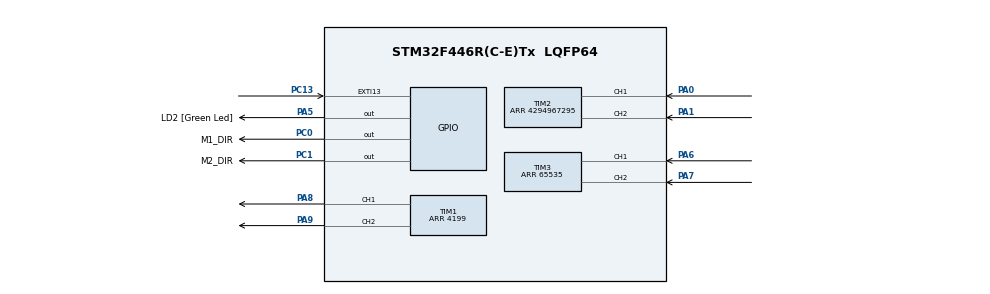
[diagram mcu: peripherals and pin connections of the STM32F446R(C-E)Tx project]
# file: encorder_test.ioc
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Mcu.Family=STM32F4
Mcu.Name=STM32F446R(C-E)Tx
Mcu.Package=LQFP64
NUCLEO-F446RE.BUTTON=1
NVIC.EXTI15_10_IRQn=true\:0\:0\:false\:false\:true\:false\:true\:true
NVIC.PriorityGroup=NVIC_PRIORITYGROUP_0
PA0-WKUP.Signal=S_TIM2_CH1_ETR
PA1.Signal=S_TIM2_CH2
PA13.GPIO_Label=TMS
PA13.Signal=SYS_JTMS-SWDIO
PA14.GPIO_Label=TCK
PA14.Signal=SYS_JTCK-SWCLK
PA5.GPIO_Label=LD2 [Green Led]
PA5.Signal=GPIO_Output
PA6.Signal=S_TIM3_CH1
PA7.Signal=S_TIM3_CH2
PA8.Signal=S_TIM1_CH1
PA9.Signal=S_TIM1_CH2
PB3.GPIO_Label=SWO
PB3.Signal=SYS_JTDO-SWO
PC0.GPIO_Label=M1_DIR
PC0.Signal=GPIO_Output
PC1.GPIO_Label=M2_DIR
PC1.Signal=GPIO_Output
PC13.Signal=GPXTI13
PC14-OSC32_IN.Signal=RCC_OSC32_IN
PC15-OSC32_OUT.Signal=RCC_OSC32_OUT
PH0-OSC_IN.Signal=RCC_OSC_IN
PH1-OSC_OUT.Signal=RCC_OSC_OUT
ProjectManager.HeapSize=0x200
ProjectManager.StackSize=0x400
ProjectManager.TargetToolchain=STM32CubeIDE
RCC.AHBFreq_Value=84000000
RCC.APB1CLKDivider=RCC_HCLK_DIV2
RCC.APB1Freq_Value=42000000
RCC.APB1TimFreq_Value=84000000
RCC.APB2Freq_Value=84000000
RCC.APB2TimFreq_Value=84000000
RCC.CortexFreq_Value=84000000
RCC.FLatency-AdvancedSettings=FLASH_LATENCY_2
RCC.HCLKFreq_Value=84000000
RCC.HSE_VALUE=8000000
RCC.HSI_VALUE=16000000
RCC.LSE_VALUE=32768
RCC.PLLN=336
RCC.PLLP=RCC_PLLP_DIV4
RCC.SYSCLKFreq_VALUE=84000000
RCC.SYSCLKSource=RCC_SYSCLKSOURCE_PLLCLK
RCC.USBFreq_Value=168000000
RCC.VCOOutputFreq_Value=336000000
SH.S_TIM1_CH1.0=TIM1_CH1,PWM Generation1 CH1
SH.S_TIM1_CH2.0=TIM1_CH2,PWM Generation2 CH2
SH.S_TIM2_CH1_ETR.0=TIM2_CH1,Encoder_Interface
SH.S_TIM2_CH2.0=TIM2_CH2,Encoder_Interface
SH.S_TIM3_CH1.0=TIM3_CH1,Encoder_Interface
SH.S_TIM3_CH2.0=TIM3_CH2,Encoder_Interface
TIM1.AutoReloadPreload=TIM_AUTORELOAD_PRELOAD_ENABLE
TIM1.Channel-PWM\ Generation1\ CH1=TIM_CHANNEL_1
TIM1.Channel-PWM\ Generation2\ CH2=TIM_CHANNEL_2
TIM1.Period=4199
TIM2.EncoderMode=TIM_ENCODERMODE_TI12
TIM2.IC1Filter=4
TIM2.IC2Filter=4
TIM2.Period=4294967295
TIM3.EncoderMode=TIM_ENCODERMODE_TI12
TIM3.IC1Filter=4
TIM3.IC2Filter=4
TIM3.Period=65535
VP_NUCLEO-F446RE_VS_BSP_COMMON.Mode=COMMON
VP_TIM1_VS_ClockSourceINT.Mode=Internal
board=NUCLEO-F446RE

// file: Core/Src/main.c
/* USER CODE BEGIN Header */
/**
  ******************************************************************************
  * @file           : main.c
  * @brief          : Main program body
  ******************************************************************************
  * @attention
  *
  * Copyright (c) 2026 STMicroelectronics.
  * All rights reserved.
  *
  * This software is licensed under terms that can be found in the LICENSE file
  * in the root directory of this software component.
  * If no LICENSE file comes with this software, it is provided AS-IS.
  *
  ******************************************************************************
  */
/* USER CODE END Header */
#include "main.h"

/* USER CODE BEGIN Includes */
#include <math.h>
/* USER CODE END Includes */

/* USER CODE BEGIN PTD */
typedef struct{
	float target_speed_mm_s;
	float control_target_speed_mm_s;
	float speed_mm_s;
	float delta_distance_mm;
	float rpm;

	float duty_percent;
	float speed_error;
	float i_output;

	float kp;
	float ki;

	uint32_t previous_count;
	int32_t delta_count;

	int8_t direction;
	uint8_t stop_samples;
} MotorState;

typedef struct{
	TIM_HandleTypeDef *encoder_timer;
	TIM_HandleTypeDef *pwm_timer;
	uint32_t pwm_channel;

	GPIO_TypeDef *dir_port;
	uint16_t dir_pin;

	uint32_t encoder_bits;
	int8_t encoder_sign;

	float counts_per_turn;
	float wheel_circumference_mm;
} MotorConfig;

typedef struct{
	MotorConfig config;
	MotorState state;
} Motor;

typedef struct {
	float delta_s_mm;
	float delta_yaw_rad;

	float x_mm;
	float y_mm;
	float yaw_rad;
} RobotState;

typedef struct {
	Motor *left_motor;
	Motor *right_motor;

	float wheel_track_mm;

	RobotState state;
} Robot;
/* USER CODE END PTD */

/* USER CODE BEGIN PD */
#define MOTOR_DUTY_LIMIT_PERCENT 50.0f
#define MOTOR_SPEED_LIMIT_MM_S 200.0f
#define MOTOR_ACCELERATION_LIMIT_MM_S2 100.0f
#define WHEEL_TRACK_MM 234.0f
/* NUCLEO ST-LINK MCO 8MHz 입력 사용. 0이면 기존 HSI 비교 시험. */
#define CLOCK_USE_HSE 1U
/* 전진 50mm/s 비교 시험 전용. 보상은 최대 6%p/s로 상승합니다. */
#define FEEDFORWARD_TEST_ENABLE 1U
#define FEEDFORWARD_DUTY_50_PERCENT 12.0f
#define FEEDFORWARD_RAMP_PERCENT_S 6.0f
/* USER CODE END PD */

TIM_HandleTypeDef htim1;
TIM_HandleTypeDef htim2;
TIM_HandleTypeDef htim3;

/* USER CODE BEGIN PV */
Motor motor1 = {
	.config = {
		.encoder_timer = &htim2,
		.pwm_timer = &htim1,
		.pwm_channel = TIM_CHANNEL_1,

		.dir_port = M1_DIR_GPIO_Port,
		.dir_pin = M1_DIR_Pin,

		.encoder_bits = 32U,
		.encoder_sign = 1,

		.counts_per_turn = 2473.6f,
		.wheel_circumference_mm = 345.6f
	}
};

Motor motor2 = {
	.config = {
		.encoder_timer = &htim3,
		.pwm_timer = &htim1,
		.pwm_channel = TIM_CHANNEL_2,

		.dir_port = M2_DIR_GPIO_Port,
		.dir_pin = M2_DIR_Pin,

		.encoder_bits = 16U,
		.encoder_sign = 1,

		.counts_per_turn = 2464.5f,
		.wheel_circumference_mm = 345.6f
	}
};

Robot robot = {
	.left_motor = &motor1,
	.right_motor = &motor2,
	.wheel_track_mm = WHEEL_TRACK_MM
};
/* 디버거가 외부에서 변경하는 명령값이므로 volatile을 사용합니다. */
volatile float linear_speed_mm_s = 0.0f;
volatile float angular_speed_rad_s = 0.0f;
uint8_t clock_hse_active = 0U;
uint8_t clock_hse_failed = 0U;
/* USER CODE END PV */

void SystemClock_Config(void);
static void MX_GPIO_Init(void);
static void MX_TIM2_Init(void);
static void MX_TIM1_Init(void);
static void MX_TIM3_Init(void);
/* USER CODE BEGIN PFP */
HAL_StatusTypeDef Motor_Init(Motor *motor);

void Motor_SetTargetSpeed(Motor *motor, float target_speed_mm_s);

void Motor_Update(Motor *motor, uint32_t sample_dt_ms);

void Motor_Stop(Motor *motor);

void Robot_SetVelocity(
	Robot *robot,
	float linear_speed_mm_s,
	float angular_speed_rad_s
);

void Robot_Update(
	Robot *robot,
	uint32_t sample_dt_ms
);
/* USER CODE END PFP */

/* USER CODE BEGIN 0 */
static float feedforward_left = 0.0f;
static float feedforward_right = 0.0f;

static float *Motor_FeedforwardState(Motor *motor){
	return motor == &motor1 ? &feedforward_left : &feedforward_right;
}

static void Motor_ApplyDuty(Motor *motor, float duty_percent)
{
    if (duty_percent < 0.0f){
        duty_percent = 0.0f;
    }
    else if (duty_percent > MOTOR_DUTY_LIMIT_PERCENT){
        duty_percent = MOTOR_DUTY_LIMIT_PERCENT;
    }

    motor->state.duty_percent = duty_percent;

    const uint32_t period_counts =
    		__HAL_TIM_GET_AUTORELOAD(motor->config.pwm_timer) + 1U;
    const uint32_t compare =
    		(uint32_t)((float)period_counts * duty_percent / 100.0f);
    __HAL_TIM_SET_COMPARE(
    		motor->config.pwm_timer,
			motor->config.pwm_channel,
			compare
	);
}

void Motor_Stop(Motor *motor){
	*Motor_FeedforwardState(motor) = 0.0f;
	motor->state.target_speed_mm_s = 0.0f;
	motor->state.control_target_speed_mm_s = 0.0f;
	motor->state.speed_error = -motor->state.speed_mm_s;
	motor->state.i_output = 0.0f;
	motor->state.stop_samples = 0;

	Motor_ApplyDuty(motor, 0.0f);
}

HAL_StatusTypeDef Motor_Init(Motor *motor){
	motor->state = (MotorState){
		/* 반복한 바닥 시험에서 목표 부근의 속도 변동이 작았던 값입니다.
		 * Kp가 크면 속도 변화에 따른 듀티 변화도 커집니다. */
		.kp = 0.1f,
		.ki = 0.1f,
		.direction = 1
	};

	Motor_ApplyDuty(motor, 0.0f);

	HAL_GPIO_WritePin(
			motor->config.dir_port,
			motor->config.dir_pin,
			GPIO_PIN_SET
		);

	__HAL_TIM_SET_COUNTER(motor->config.encoder_timer, 0);

	if (HAL_TIM_Encoder_Start(
			motor->config.encoder_timer,
			TIM_CHANNEL_ALL) != HAL_OK)
	{
		return HAL_ERROR;
	}

	motor->state.previous_count =
			__HAL_TIM_GET_COUNTER(motor->config.encoder_timer);

	if (HAL_TIM_PWM_Start(
			motor->config.pwm_timer,
			motor->config.pwm_channel) != HAL_OK)
	{
		Motor_Stop(motor);
		return HAL_ERROR;
	}

	return HAL_OK;
}

void Motor_Update(Motor *motor, uint32_t sample_dt_ms){
	if (sample_dt_ms == 0U){
		return;
	}
	const uint32_t current_count =
			__HAL_TIM_GET_COUNTER(motor->config.encoder_timer);

	int32_t delta_count;

	if (motor->config.encoder_bits == 16U){
		delta_count =
				(int32_t)current_count - (int32_t)motor->state.previous_count;

		if (delta_count > 32767){
			delta_count -= 65536;
		}
		else if (delta_count < -32768){
			delta_count += 65536;
		}
	}
	else {
		delta_count =
				(int32_t)(current_count - motor->state.previous_count);
	}
	motor->state.previous_count = current_count;

	delta_count *= motor->config.encoder_sign;
	motor->state.delta_count = delta_count;

	const float turns =
			(float)delta_count / motor->config.counts_per_turn;

	motor->state.delta_distance_mm =
			turns * motor->config.wheel_circumference_mm;

	motor->state.speed_mm_s =
			motor->state.delta_distance_mm
			* 1000.0f / (float)sample_dt_ms;

	motor->state.rpm =
			turns * 60000.0f / (float)sample_dt_ms;

	const int8_t requested_direction =
			(motor->state.target_speed_mm_s > 0.0f) ? 1 :
			(motor->state.target_speed_mm_s < 0.0f) ? -1 : 0;

	if (requested_direction == 0){
		Motor_Stop(motor);
		return;
	}
	if (requested_direction != motor->state.direction){
		*Motor_FeedforwardState(motor) = 0.0f;
		Motor_ApplyDuty(motor, 0.0f);
		motor->state.control_target_speed_mm_s = 0.0f;
		motor->state.i_output = 0.0f;

		if (delta_count == 0){
			motor->state.stop_samples++;
		}
		else{
			motor->state.stop_samples = 0;
		}
		if (motor->state.stop_samples >= 3U){
			HAL_GPIO_WritePin(
				motor->config.dir_port,
				motor->config.dir_pin,
				requested_direction > 0 ? GPIO_PIN_SET : GPIO_PIN_RESET
			);

			motor->state.direction = requested_direction;
			motor->state.stop_samples = 0;
		}

		return;
	}

	motor->state.stop_samples = 0;

	const float dt_s = (float)sample_dt_ms / 1000.0f;

	const float max_change = MOTOR_ACCELERATION_LIMIT_MM_S2 * dt_s;

	float target_change =
			motor->state.target_speed_mm_s - motor->state.control_target_speed_mm_s;

	if (target_change > max_change){
		target_change = max_change;
	}

	else if (target_change < -max_change){
		target_change = -max_change;
	}

	motor->state.control_target_speed_mm_s += target_change;

	motor->state.speed_error =
			motor->state.control_target_speed_mm_s - motor->state.speed_mm_s;

	const float control_error =
			(float)motor->state.direction * motor->state.speed_error;

	/* 다른 속도·후진·회전에는 아직 보상값을 적용하지 않습니다. */
	const float ff_target =
		(FEEDFORWARD_TEST_ENABLE != 0U &&
		 linear_speed_mm_s == 50.0f && angular_speed_rad_s == 0.0f)
		? FEEDFORWARD_DUTY_50_PERCENT *
		  motor->state.control_target_speed_mm_s / 50.0f : 0.0f;

	float *ff_state = Motor_FeedforwardState(motor);
	if (ff_target > *ff_state){
		*ff_state = fminf(ff_target,
			*ff_state + FEEDFORWARD_RAMP_PERCENT_S * dt_s);
	}
	else{
		*ff_state = ff_target;
	}
	const float ff_output = *ff_state;
	const float p_output =
		motor->state.kp * control_error;

	/* 보상 상승 중에는 양의 적분 누적만 억제합니다. 과속 보정은 허용. */
	const float i_step =
		(ff_target > ff_output && control_error > 0.0f)
		? 0.0f : motor->state.ki * control_error * dt_s;
	const float i_candidate = motor->state.i_output + i_step;

	const float output_candidate = ff_output + p_output + i_candidate;

	/* 출력 제한을 더 벗어나게 하는 적분은 저장하지 않습니다. */
	if (!((output_candidate > MOTOR_DUTY_LIMIT_PERCENT &&
		   control_error > 0.0f) ||
		  (output_candidate < 0.0f &&
		   control_error < 0.0f)))
	{
		motor->state.i_output = i_candidate;
	}

	/* 공통 출력 함수에서 듀티 제한과 실제 CCR 갱신을 수행합니다. */
	Motor_ApplyDuty(
		motor,
		ff_output + p_output + motor->state.i_output
	);
}

void Motor_SetTargetSpeed(Motor *motor, float target_speed_mm_s){
	if (!isfinite(target_speed_mm_s)){ // isfinite()는 NaN·무한대 같은 잘못된 계산값을 걸러냄
		Motor_Stop(motor);
		return;
	}

	if (target_speed_mm_s > MOTOR_SPEED_LIMIT_MM_S){
		target_speed_mm_s = MOTOR_SPEED_LIMIT_MM_S;
	}
	else if (target_speed_mm_s < -MOTOR_SPEED_LIMIT_MM_S){
		target_speed_mm_s = -MOTOR_SPEED_LIMIT_MM_S;
	}

	if (target_speed_mm_s == 0){
		Motor_Stop(motor);
		return;
	}
	motor->state.target_speed_mm_s = target_speed_mm_s;
}

void Robot_SetVelocity(
	Robot *robot,
	float linear_speed_mm_s,
	float angular_speed_rad_s)
{
	const float turn_speed =
			angular_speed_rad_s * robot->wheel_track_mm * 0.5f;

	float left_target = linear_speed_mm_s - turn_speed;
	float right_target = linear_speed_mm_s + turn_speed;

	if (!isfinite(left_target) || !isfinite(right_target)) {
		Motor_Stop(robot->left_motor);
		Motor_Stop(robot->right_motor);
		return;
	}

	const float max_target =
		fmaxf(fabsf(left_target), fabsf(right_target));

	if (max_target > MOTOR_SPEED_LIMIT_MM_S) {
		const float scale =
			MOTOR_SPEED_LIMIT_MM_S / max_target;

		left_target *= scale;
		right_target *= scale;
	}

    Motor_SetTargetSpeed(robot->left_motor, left_target);
    Motor_SetTargetSpeed(robot->right_motor, right_target);
}

void Robot_Update(Robot *robot, uint32_t sample_dt_ms){
	if (sample_dt_ms == 0U){
		return;
	}

	Motor_Update(robot->left_motor, sample_dt_ms);
	Motor_Update(robot->right_motor, sample_dt_ms);

	const float left_mm =
		robot->left_motor->state.delta_distance_mm;

	const float right_mm =
		robot->right_motor->state.delta_distance_mm;

	robot->state.delta_s_mm =
		(left_mm + right_mm) * 0.5f;

	robot->state.delta_yaw_rad =
		(right_mm - left_mm) / robot->wheel_track_mm;

	const float mid_yaw_rad =
		robot->state.yaw_rad
		+ robot->state.delta_yaw_rad * 0.5f;

    robot->state.x_mm +=
        robot->state.delta_s_mm * cosf(mid_yaw_rad);

    robot->state.y_mm +=
        robot->state.delta_s_mm * sinf(mid_yaw_rad);

    robot->state.yaw_rad += robot->state.delta_yaw_rad;
}
/* USER CODE END 0 */

int main(void)
{

  /* USER CODE BEGIN 1 */
    uint32_t previous_tick = 0U;
/* USER CODE END 1 */

  /* MCU Configuration--------------------------------------------------------*/

  /* Reset of all peripherals, Initializes the Flash interface and the Systick. */
  HAL_Init();

  /* Configure the system clock */
  SystemClock_Config();

  /* Initialize all configured peripherals */
  MX_GPIO_Init();
  MX_TIM2_Init();
  MX_TIM1_Init();
  MX_TIM3_Init();
  /* USER CODE BEGIN 2 */
  if (Motor_Init(&motor1) != HAL_OK){
	  Error_Handler();
  }
  if (Motor_Init(&motor2) != HAL_OK){
  	  Error_Handler();
  }

  previous_tick = HAL_GetTick();
/* USER CODE END 2 */

  /* Initialize USER push-button, will be used to trigger an interrupt each time it's pressed.*/
  BSP_PB_Init(BUTTON_USER, BUTTON_MODE_EXTI);

  /* Infinite loop */
  while (1)
  {

    /* USER CODE BEGIN 3 */
    const uint32_t now = HAL_GetTick();

	  if ((uint32_t)(now - previous_tick) >= 100U){
		  const uint32_t sample_dt_ms = now - previous_tick;

		  Robot_SetVelocity(
			  &robot,
			  linear_speed_mm_s,
			  angular_speed_rad_s
		  );
		  // 모터 측정과 제어 수행
		  Robot_Update(&robot, sample_dt_ms);

		  previous_tick = now;
	  }

  }
/* USER CODE END 3 */
}

void SystemClock_Config(void)
{
  RCC_OscInitTypeDef RCC_OscInitStruct = {0};
  RCC_ClkInitTypeDef RCC_ClkInitStruct = {0};

  /* HSE/MCO가 없는 보드에서도 정지 초기화까지 진행하도록 HSI로 복귀합니다.
   * 클럭 소스만 비교하며 두 경로 모두 SYSCLK=84MHz를 유지합니다.
   * CubeMX 재생성 시 이 사용자 변경 구간을 보존해야 합니다. */
  clock_hse_active = 0U;
  clock_hse_failed = 0U;
  if (CLOCK_USE_HSE != 0U){
    RCC_OscInitTypeDef hse_probe = {0};
    hse_probe.OscillatorType = RCC_OSCILLATORTYPE_HSE;
    hse_probe.HSEState = RCC_HSE_BYPASS;
    hse_probe.PLL.PLLState = RCC_PLL_NONE;
    if (HAL_RCC_OscConfig(&hse_probe) == HAL_OK){
      clock_hse_active = 1U;
    }
    else{
      clock_hse_failed = 1U;
      hse_probe.HSEState = RCC_HSE_OFF;
      if (HAL_RCC_OscConfig(&hse_probe) != HAL_OK){
        Error_Handler();
      }
    }
  }

  /** Configure the main internal regulator output voltage
  */
  __HAL_RCC_PWR_CLK_ENABLE();
  __HAL_PWR_VOLTAGESCALING_CONFIG(PWR_REGULATOR_VOLTAGE_SCALE3);

  /** Initializes the RCC Oscillators according to the specified parameters
  * in the RCC_OscInitTypeDef structure.
  */
  RCC_OscInitStruct.OscillatorType = RCC_OSCILLATORTYPE_HSI;
  RCC_OscInitStruct.HSIState = RCC_HSI_ON;
  RCC_OscInitStruct.HSICalibrationValue = RCC_HSICALIBRATION_DEFAULT;
  RCC_OscInitStruct.PLL.PLLState = RCC_PLL_ON;
  RCC_OscInitStruct.PLL.PLLSource =
      clock_hse_active != 0U ? RCC_PLLSOURCE_HSE : RCC_PLLSOURCE_HSI;
  RCC_OscInitStruct.PLL.PLLM = clock_hse_active != 0U ? 8U : 16U;
  RCC_OscInitStruct.PLL.PLLN = 336;
  RCC_OscInitStruct.PLL.PLLP = RCC_PLLP_DIV4;
  RCC_OscInitStruct.PLL.PLLQ = 2;
  RCC_OscInitStruct.PLL.PLLR = 2;
  if (HAL_RCC_OscConfig(&RCC_OscInitStruct) != HAL_OK)
  {
    Error_Handler();
  }

  /** Initializes the CPU, AHB and APB buses clocks
  */
  RCC_ClkInitStruct.ClockType = RCC_CLOCKTYPE_HCLK|RCC_CLOCKTYPE_SYSCLK
                              |RCC_CLOCKTYPE_PCLK1|RCC_CLOCKTYPE_PCLK2;
  RCC_ClkInitStruct.SYSCLKSource = RCC_SYSCLKSOURCE_PLLCLK;
  RCC_ClkInitStruct.AHBCLKDivider = RCC_SYSCLK_DIV1;
  RCC_ClkInitStruct.APB1CLKDivider = RCC_HCLK_DIV2;
  RCC_ClkInitStruct.APB2CLKDivider = RCC_HCLK_DIV1;

  if (HAL_RCC_ClockConfig(&RCC_ClkInitStruct, FLASH_LATENCY_2) != HAL_OK)
  {
    Error_Handler();
  }
}

static void MX_TIM1_Init(void)
{

  TIM_ClockConfigTypeDef sClockSourceConfig = {0};
  TIM_MasterConfigTypeDef sMasterConfig = {0};
  TIM_OC_InitTypeDef sConfigOC = {0};
  TIM_BreakDeadTimeConfigTypeDef sBreakDeadTimeConfig = {0};

  htim1.Instance = TIM1;
  htim1.Init.Prescaler = 0;
  htim1.Init.CounterMode = TIM_COUNTERMODE_UP;
  htim1.Init.Period = 4199;
  htim1.Init.ClockDivision = TIM_CLOCKDIVISION_DIV1;
  htim1.Init.RepetitionCounter = 0;
  htim1.Init.AutoReloadPreload = TIM_AUTORELOAD_PRELOAD_ENABLE;
  if (HAL_TIM_Base_Init(&htim1) != HAL_OK)
  {
    Error_Handler();
  }
  sClockSourceConfig.ClockSource = TIM_CLOCKSOURCE_INTERNAL;
  if (HAL_TIM_ConfigClockSource(&htim1, &sClockSourceConfig) != HAL_OK)
  {
    Error_Handler();
  }
  if (HAL_TIM_PWM_Init(&htim1) != HAL_OK)
  {
    Error_Handler();
  }
  sMasterConfig.MasterOutputTrigger = TIM_TRGO_RESET;
  sMasterConfig.MasterSlaveMode = TIM_MASTERSLAVEMODE_DISABLE;
  if (HAL_TIMEx_MasterConfigSynchronization(&htim1, &sMasterConfig) != HAL_OK)
  {
    Error_Handler();
  }
  sConfigOC.OCMode = TIM_OCMODE_PWM1;
  sConfigOC.Pulse = 0;
  sConfigOC.OCPolarity = TIM_OCPOLARITY_HIGH;
  sConfigOC.OCNPolarity = TIM_OCNPOLARITY_HIGH;
  sConfigOC.OCFastMode = TIM_OCFAST_DISABLE;
  sConfigOC.OCIdleState = TIM_OCIDLESTATE_RESET;
  sConfigOC.OCNIdleState = TIM_OCNIDLESTATE_RESET;
  if (HAL_TIM_PWM_ConfigChannel(&htim1, &sConfigOC, TIM_CHANNEL_1) != HAL_OK)
  {
    Error_Handler();
  }
  if (HAL_TIM_PWM_ConfigChannel(&htim1, &sConfigOC, TIM_CHANNEL_2) != HAL_OK)
  {
    Error_Handler();
  }
  sBreakDeadTimeConfig.OffStateRunMode = TIM_OSSR_DISABLE;
  sBreakDeadTimeConfig.OffStateIDLEMode = TIM_OSSI_DISABLE;
  sBreakDeadTimeConfig.LockLevel = TIM_LOCKLEVEL_OFF;
  sBreakDeadTimeConfig.DeadTime = 0;
  sBreakDeadTimeConfig.BreakState = TIM_BREAK_DISABLE;
  sBreakDeadTimeConfig.BreakPolarity = TIM_BREAKPOLARITY_HIGH;
  sBreakDeadTimeConfig.AutomaticOutput = TIM_AUTOMATICOUTPUT_DISABLE;
  if (HAL_TIMEx_ConfigBreakDeadTime(&htim1, &sBreakDeadTimeConfig) != HAL_OK)
  {
    Error_Handler();
  }
  HAL_TIM_MspPostInit(&htim1);

}

static void MX_TIM2_Init(void)
{

  TIM_Encoder_InitTypeDef sConfig = {0};
  TIM_MasterConfigTypeDef sMasterConfig = {0};

  htim2.Instance = TIM2;
  htim2.Init.Prescaler = 0;
  htim2.Init.CounterMode = TIM_COUNTERMODE_UP;
  htim2.Init.Period = 4294967295;
  htim2.Init.ClockDivision = TIM_CLOCKDIVISION_DIV1;
  htim2.Init.AutoReloadPreload = TIM_AUTORELOAD_PRELOAD_DISABLE;
  sConfig.EncoderMode = TIM_ENCODERMODE_TI12;
  sConfig.IC1Polarity = TIM_ICPOLARITY_RISING;
  sConfig.IC1Selection = TIM_ICSELECTION_DIRECTTI;
  sConfig.IC1Prescaler = TIM_ICPSC_DIV1;
  sConfig.IC1Filter = 4;
  sConfig.IC2Polarity = TIM_ICPOLARITY_RISING;
  sConfig.IC2Selection = TIM_ICSELECTION_DIRECTTI;
  sConfig.IC2Prescaler = TIM_ICPSC_DIV1;
  sConfig.IC2Filter = 4;
  if (HAL_TIM_Encoder_Init(&htim2, &sConfig) != HAL_OK)
  {
    Error_Handler();
  }
  sMasterConfig.MasterOutputTrigger = TIM_TRGO_RESET;
  sMasterConfig.MasterSlaveMode = TIM_MASTERSLAVEMODE_DISABLE;
  if (HAL_TIMEx_MasterConfigSynchronization(&htim2, &sMasterConfig) != HAL_OK)
  {
    Error_Handler();
  }

}

static void MX_TIM3_Init(void)
{

  TIM_Encoder_InitTypeDef sConfig = {0};
  TIM_MasterConfigTypeDef sMasterConfig = {0};

  htim3.Instance = TIM3;
  htim3.Init.Prescaler = 0;
  htim3.Init.CounterMode = TIM_COUNTERMODE_UP;
  htim3.Init.Period = 65535;
  htim3.Init.ClockDivision = TIM_CLOCKDIVISION_DIV1;
  htim3.Init.AutoReloadPreload = TIM_AUTORELOAD_PRELOAD_DISABLE;
  sConfig.EncoderMode = TIM_ENCODERMODE_TI12;
  sConfig.IC1Polarity = TIM_ICPOLARITY_RISING;
  sConfig.IC1Selection = TIM_ICSELECTION_DIRECTTI;
  sConfig.IC1Prescaler = TIM_ICPSC_DIV1;
  sConfig.IC1Filter = 4;
  sConfig.IC2Polarity = TIM_ICPOLARITY_RISING;
  sConfig.IC2Selection = TIM_ICSELECTION_DIRECTTI;
  sConfig.IC2Prescaler = TIM_ICPSC_DIV1;
  sConfig.IC2Filter = 4;
  if (HAL_TIM_Encoder_Init(&htim3, &sConfig) != HAL_OK)
  {
    Error_Handler();
  }
  sMasterConfig.MasterOutputTrigger = TIM_TRGO_RESET;
  sMasterConfig.MasterSlaveMode = TIM_MASTERSLAVEMODE_DISABLE;
  if (HAL_TIMEx_MasterConfigSynchronization(&htim3, &sMasterConfig) != HAL_OK)
  {
    Error_Handler();
  }

}

static void MX_GPIO_Init(void)
{
  GPIO_InitTypeDef GPIO_InitStruct = {0};

  /* GPIO Ports Clock Enable */
  __HAL_RCC_GPIOC_CLK_ENABLE();
  __HAL_RCC_GPIOH_CLK_ENABLE();
  __HAL_RCC_GPIOA_CLK_ENABLE();
  __HAL_RCC_GPIOB_CLK_ENABLE();

  /*Configure GPIO pin Output Level */
  HAL_GPIO_WritePin(GPIOC, M1_DIR_Pin|M2_DIR_Pin, GPIO_PIN_RESET);

  /*Configure GPIO pin Output Level */
  HAL_GPIO_WritePin(LD2_GPIO_Port, LD2_Pin, GPIO_PIN_RESET);

  /*Configure GPIO pins : M1_DIR_Pin M2_DIR_Pin */
  GPIO_InitStruct.Pin = M1_DIR_Pin|M2_DIR_Pin;
  GPIO_InitStruct.Mode = GPIO_MODE_OUTPUT_PP;
  GPIO_InitStruct.Pull = GPIO_NOPULL;
  GPIO_InitStruct.Speed = GPIO_SPEED_FREQ_LOW;
  HAL_GPIO_Init(GPIOC, &GPIO_InitStruct);

  /*Configure GPIO pin : LD2_Pin */
  GPIO_InitStruct.Pin = LD2_Pin;
  GPIO_InitStruct.Mode = GPIO_MODE_OUTPUT_PP;
  GPIO_InitStruct.Pull = GPIO_NOPULL;
  GPIO_InitStruct.Speed = GPIO_SPEED_FREQ_LOW;
  HAL_GPIO_Init(LD2_GPIO_Port, &GPIO_InitStruct);

}

void Error_Handler(void)
{
  /* USER CODE BEGIN Error_Handler_Debug */
	if (htim1.Instance == TIM1)
	{
		HAL_TIM_PWM_Stop(&htim1, TIM_CHANNEL_1);
		HAL_TIM_PWM_Stop(&htim1, TIM_CHANNEL_2);
	}
  /* User can add his own implementation to report the HAL error return state */
  __disable_irq();
  while (1)
  {
  }
  /* USER CODE END Error_Handler_Debug */
}
